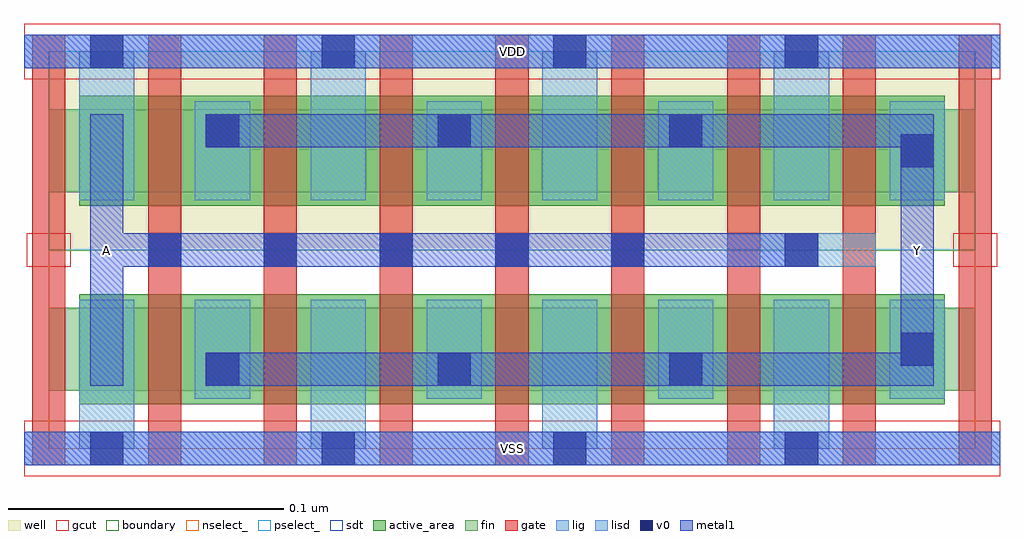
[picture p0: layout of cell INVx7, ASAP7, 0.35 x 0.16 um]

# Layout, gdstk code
import gdstk
lib = gdstk.Library(unit=1e-6, precision=2.5e-10)
def R(c, l, rs):  # rectangles x0, y0, x1, y1
    for r in rs: c.add(gdstk.rectangle(r[:2], r[2:], *l))
def A(c, l, x, y, w, h, nx, ny, dx, dy):  # array of equal rectangles
    R(c, l, [(x+i*dx, y+j*dy, x+i*dx+w, y+j*dy+h) for i in range(nx) for j in range(ny)])
def P(c, l, *ps):  # polygons
    for p in ps: c.add(gdstk.Polygon(p, *l))
well = (1, 0)
fin = (2, 0)
gate = (7, 0)
gcut = (10, 0)
active_area = (11, 0)
nselect_ = (12, 0)
pselect_ = (13, 0)
lig = (16, 0)
lisd = (17, 0)
v0 = (18, 0)
metal1 = (19, 0)
sdt = (88, 0)
boundary = (100, 0)

invx7 = lib.new_cell('INVx7')
R(invx7, well, [(0,0.072,0.336,0.144)])
R(invx7, fin, [(0,0.021,0.336,0.051), (0,0.093,0.336,0.123)])
A(invx7, gate, -0.006, -0.006, 0.012, 0.156, 9, 1, 0.042, 0)
R(invx7, gcut, [(-0.009,-0.01,0.345,0.01), (-0.008,0.066,0.008,0.078), (0.328,0.066,0.344,0.078), (-0.009,0.134,0.345,0.154)])
R(invx7, active_area, [(0.011,0.016,0.325,0.056), (0.011,0.088,0.325,0.128)])
R(invx7, nselect_, [(0,0,0.336,0.072)])
R(invx7, pselect_, [(0,0.072,0.336,0.144)])
A(invx7, lig, 0.036, 0.066, 0.012, 0.012, 5, 1, 0.042, 0)
R(invx7, lig, [(-0.009,-0.006,0.345,0.006), (0.246,0.066,0.3,0.078), (-0.009,0.138,0.345,0.15)])
A(invx7, lisd, 0.011, 0, 0.02, 0.054, 4, 2, 0.084, 0.09)
A(invx7, lisd, 0.053, 0.018, 0.02, 0.036, 4, 2, 0.084, 0.072)
A(invx7, v0, 0.015, -0.006, 0.012, 0.012, 4, 2, 0.084, 0.144)
A(invx7, v0, 0.057, 0.0227, 0.012, 0.012, 3, 2, 0.084, 0.0865)
A(invx7, v0, 0.036, 0.066, 0.012, 0.012, 5, 1, 0.042, 0)
R(invx7, v0, [(0.309,0.03,0.321,0.042), (0.267,0.066,0.279,0.078), (0.309,0.102,0.321,0.114)])
R(invx7, metal1, [(-0.009,-0.006,0.345,0.006), (-0.009,0.138,0.345,0.15)])
P(invx7, metal1, [(0.015,0.0227),(0.027,0.0227),(0.027,0.066),(0.279,0.066),(0.279,0.078),(0.027,0.078),(0.027,0.1212),(0.015,0.1212)],
  [(0.057,0.1092),(0.309,0.1092),(0.309,0.0348),(0.057,0.0348),(0.057,0.0227),(0.321,0.0227),(0.321,0.1212),(0.057,0.1212)])
A(invx7, sdt, 0.011, 0.021, 0.02, 0.03, 8, 2, 0.042, 0.072)
R(invx7, boundary, [(0,0,0.336,0.144)])
invx7.add(gdstk.Label('Y', (0.315,0.072), layer=19, texttype=251))
invx7.add(gdstk.Label('A', (0.021,0.072), layer=19, texttype=251))
invx7.add(gdstk.Label('VSS', (0.168,0), layer=19, texttype=251))
invx7.add(gdstk.Label('VDD', (0.168,0.144), layer=19, texttype=251))

lib.write_gds('INVx7.gds')
